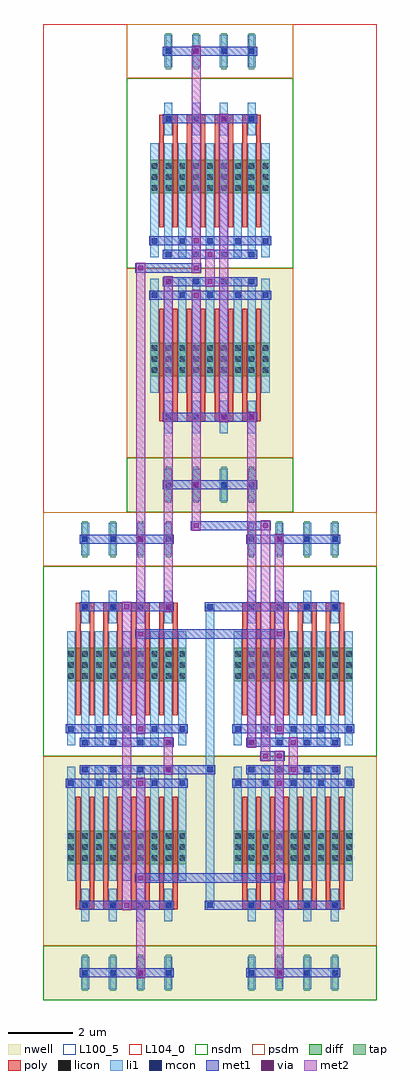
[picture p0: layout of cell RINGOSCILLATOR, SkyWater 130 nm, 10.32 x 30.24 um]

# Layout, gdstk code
import gdstk
lib = gdstk.Library(unit=1e-6, precision=1e-09)
def R(c, l, rs):  # rectangles x0, y0, x1, y1
    for r in rs: c.add(gdstk.rectangle(r[:2], r[2:], *l))
def A(c, l, x, y, w, h, nx, ny, dx, dy):  # array of equal rectangles
    R(c, l, [(x+i*dx, y+j*dy, x+i*dx+w, y+j*dy+h) for i in range(nx) for j in range(ny)])
nwell = (64, 20)
diff = (65, 20)
tap = (65, 44)
poly = (66, 20)
licon = (66, 44)
li1 = (67, 20)
mcon = (67, 44)
met1 = (68, 20)
via = (68, 44)
met2 = (69, 20)
nsdm = (93, 44)
psdm = (94, 20)
L100_5 = (100, 5)
L104_0 = (104, 0)

ringoscillator = lib.new_cell('RINGOSCILLATOR')
R(ringoscillator, nwell, [(0,0,5.16,7.56), (5.16,0,10.32,7.56), (2.58,15.12,7.74,22.68)])
R(ringoscillator, diff, [(0.735,4.2,4.425,5.25), (5.895,4.2,9.585,5.25), (0.735,9.87,4.425,10.92), (5.895,9.87,9.585,10.92), (3.315,19.32,7.005,20.37), (3.315,24.99,7.005,26.04)])
A(ringoscillator, tap, 1.205, 0.28, 0.17, 1.12, 4, 2, 0.86, 13.44)
A(ringoscillator, tap, 6.365, 0.28, 0.17, 1.12, 4, 2, 0.86, 13.44)
A(ringoscillator, tap, 3.785, 15.4, 0.17, 1.12, 4, 2, 0.86, 13.44)
A(ringoscillator, poly, 1, 2.805, 0.58, 0.27, 4, 2, 0.86, 9.24)
A(ringoscillator, poly, 6.16, 2.805, 0.58, 0.27, 4, 2, 0.86, 9.24)
A(ringoscillator, poly, 1, 2.94, 0.15, 3.36, 8, 2, 0.43, 5.88)
A(ringoscillator, poly, 6.16, 2.94, 0.15, 3.36, 8, 2, 0.43, 5.88)
A(ringoscillator, poly, 3.58, 17.925, 0.58, 0.27, 4, 2, 0.86, 9.24)
A(ringoscillator, poly, 3.58, 18.06, 0.15, 3.36, 8, 2, 0.43, 5.88)
A(ringoscillator, licon, 1.205, 0.755, 0.17, 0.17, 4, 2, 0.86, 2.1)
A(ringoscillator, licon, 6.365, 0.755, 0.17, 0.17, 4, 2, 0.86, 2.1)
A(ringoscillator, licon, 0.775, 4.32, 0.17, 0.17, 3, 3, 0.43, 0.34)
A(ringoscillator, licon, 1.635, 4.32, 0.17, 0.17, 3, 3, 0.43, 0.34)
A(ringoscillator, licon, 2.495, 4.32, 0.17, 0.17, 3, 3, 0.43, 0.34)
A(ringoscillator, licon, 3.355, 4.32, 0.17, 0.17, 3, 3, 0.43, 0.34)
A(ringoscillator, licon, 5.935, 4.32, 0.17, 0.17, 3, 3, 0.43, 0.34)
A(ringoscillator, licon, 6.795, 4.32, 0.17, 0.17, 3, 3, 0.43, 0.34)
A(ringoscillator, licon, 7.655, 4.32, 0.17, 0.17, 3, 3, 0.43, 0.34)
A(ringoscillator, licon, 8.515, 4.32, 0.17, 0.17, 3, 3, 0.43, 0.34)
A(ringoscillator, licon, 0.775, 9.95, 0.17, 0.17, 3, 3, 0.43, 0.34)
A(ringoscillator, licon, 1.635, 9.95, 0.17, 0.17, 3, 3, 0.43, 0.34)
A(ringoscillator, licon, 2.495, 9.95, 0.17, 0.17, 3, 3, 0.43, 0.34)
A(ringoscillator, licon, 3.355, 9.95, 0.17, 0.17, 3, 3, 0.43, 0.34)
A(ringoscillator, licon, 5.935, 9.95, 0.17, 0.17, 3, 3, 0.43, 0.34)
A(ringoscillator, licon, 6.795, 9.95, 0.17, 0.17, 3, 3, 0.43, 0.34)
A(ringoscillator, licon, 7.655, 9.95, 0.17, 0.17, 3, 3, 0.43, 0.34)
A(ringoscillator, licon, 8.515, 9.95, 0.17, 0.17, 3, 3, 0.43, 0.34)
A(ringoscillator, licon, 1.205, 12.095, 0.17, 0.17, 4, 2, 0.86, 2.1)
A(ringoscillator, licon, 6.365, 12.095, 0.17, 0.17, 4, 2, 0.86, 2.1)
A(ringoscillator, licon, 3.785, 15.875, 0.17, 0.17, 4, 2, 0.86, 2.1)
A(ringoscillator, licon, 3.355, 19.44, 0.17, 0.17, 3, 3, 0.43, 0.34)
A(ringoscillator, licon, 4.215, 19.44, 0.17, 0.17, 3, 3, 0.43, 0.34)
A(ringoscillator, licon, 5.075, 19.44, 0.17, 0.17, 3, 3, 0.43, 0.34)
A(ringoscillator, licon, 5.935, 19.44, 0.17, 0.17, 3, 3, 0.43, 0.34)
A(ringoscillator, licon, 3.355, 25.07, 0.17, 0.17, 3, 3, 0.43, 0.34)
A(ringoscillator, licon, 4.215, 25.07, 0.17, 0.17, 3, 3, 0.43, 0.34)
A(ringoscillator, licon, 5.075, 25.07, 0.17, 0.17, 3, 3, 0.43, 0.34)
A(ringoscillator, licon, 5.935, 25.07, 0.17, 0.17, 3, 3, 0.43, 0.34)
A(ringoscillator, licon, 3.785, 27.215, 0.17, 0.17, 4, 2, 0.86, 2.1)
A(ringoscillator, li1, 1.165, 0.335, 0.25, 1.01, 4, 2, 0.86, 2.1)
A(ringoscillator, li1, 6.325, 0.335, 0.25, 1.01, 4, 2, 0.86, 2.1)
A(ringoscillator, li1, 0.735, 3.695, 0.25, 3.53, 9, 2, 0.43, 4.2)
A(ringoscillator, li1, 5.895, 3.695, 0.25, 3.53, 9, 2, 0.43, 4.2)
A(ringoscillator, li1, 1.165, 11.675, 0.25, 1.01, 4, 2, 0.86, 2.1)
A(ringoscillator, li1, 6.325, 11.675, 0.25, 1.01, 4, 2, 0.86, 2.1)
A(ringoscillator, li1, 3.745, 15.455, 0.25, 1.01, 4, 2, 0.86, 2.1)
A(ringoscillator, li1, 3.315, 18.815, 0.25, 3.53, 9, 2, 0.43, 4.2)
A(ringoscillator, li1, 3.745, 26.795, 0.25, 1.01, 4, 2, 0.86, 2.1)
R(ringoscillator, li1, [(5.035,2.855,5.285,12.265)])
A(ringoscillator, mcon, 1.205, 0.755, 0.17, 0.17, 4, 2, 0.86, 2.1)
A(ringoscillator, mcon, 6.365, 0.755, 0.17, 0.17, 4, 2, 0.86, 2.1)
A(ringoscillator, mcon, 0.775, 6.635, 0.17, 0.17, 5, 2, 0.86, 1.68)
A(ringoscillator, mcon, 5.935, 6.635, 0.17, 0.17, 5, 2, 0.86, 1.68)
A(ringoscillator, mcon, 1.205, 7.055, 0.17, 0.17, 4, 2, 0.86, 0.84)
A(ringoscillator, mcon, 6.365, 7.055, 0.17, 0.17, 4, 2, 0.86, 0.84)
A(ringoscillator, mcon, 1.205, 12.095, 0.17, 0.17, 4, 2, 0.86, 2.1)
A(ringoscillator, mcon, 6.365, 12.095, 0.17, 0.17, 4, 2, 0.86, 2.1)
A(ringoscillator, mcon, 3.785, 15.875, 0.17, 0.17, 4, 2, 0.86, 2.1)
A(ringoscillator, mcon, 3.355, 21.755, 0.17, 0.17, 5, 2, 0.86, 1.68)
A(ringoscillator, mcon, 3.785, 22.175, 0.17, 0.17, 4, 2, 0.86, 0.84)
A(ringoscillator, mcon, 3.785, 27.215, 0.17, 0.17, 4, 2, 0.86, 2.1)
R(ringoscillator, mcon, [(5.075,2.855,5.245,3.025), (5.075,7.055,5.245,7.225), (5.075,12.095,5.245,12.265)])
R(ringoscillator, met1, [(1.12,0.7,4.04,0.98), (6.28,0.7,9.2,0.98), (1.12,2.8,4.04,3.08), (4.99,2.8,9.2,3.08), (2.85,3.64,7.47,3.92), (0.69,6.58,4.47,6.86), (5.85,6.58,9.63,6.86), (1.12,7,5.33,7.28), (6.28,7,9.2,7.28), (6.72,7.42,7.47,7.7), (1.12,7.84,4.04,8.12), (6.28,7.84,9.2,8.12), (0.69,8.26,4.47,8.54), (5.85,8.26,9.63,8.54), (2.85,11.2,7.47,11.48), (1.12,12.04,4.04,12.32), (4.99,12.04,9.2,12.32), (1.12,14.14,4.04,14.42), (6.28,14.14,9.2,14.42), (4.57,14.56,7.04,14.84), (3.7,15.82,6.62,16.1), (3.7,17.92,6.62,18.2), (3.27,21.7,7.05,21.98), (3.7,22.12,6.62,22.4), (2.85,22.54,4.89,22.82), (3.7,22.96,6.62,23.24), (3.27,23.38,7.05,23.66), (3.7,27.16,6.62,27.44), (3.7,29.26,6.62,29.54)])
A(ringoscillator, via, 2.935, 0.765, 0.15, 0.15, 1, 3, 0, 2.94)
A(ringoscillator, via, 7.235, 0.765, 0.15, 0.15, 1, 3, 0, 2.94)
A(ringoscillator, via, 2.935, 8.325, 0.15, 0.15, 1, 3, 0, 2.94)
A(ringoscillator, via, 7.235, 8.325, 0.15, 0.15, 1, 3, 0, 2.94)
A(ringoscillator, via, 4.655, 21.765, 0.15, 0.15, 1, 3, 0, 0.84)
R(ringoscillator, via, [(2.505,2.865,2.655,3.015), (3.795,7.065,3.945,7.215), (7.665,7.065,7.815,7.215), (6.805,7.485,6.955,7.635), (7.235,7.485,7.385,7.635), (3.795,7.905,3.945,8.055), (6.375,7.905,6.525,8.055), (7.665,7.905,7.815,8.055), (2.505,12.105,2.655,12.255), (3.795,12.105,3.945,12.255), (4.655,14.625,4.805,14.775), (6.805,14.625,6.955,14.775), (4.655,15.885,4.805,16.035), (5.515,17.985,5.665,18.135), (6.375,17.985,6.525,18.135), (3.795,22.185,3.945,22.335), (5.085,22.185,5.235,22.335), (2.935,22.605,3.085,22.755), (5.085,23.025,5.235,23.175), (5.515,27.225,5.665,27.375), (4.655,29.325,4.805,29.475)])
R(ringoscillator, met2, [(2.87,0.68,3.15,6.88), (7.17,0.68,7.45,7.72), (2.44,2.78,2.72,12.34), (3.73,6.98,4.01,8.14), (7.6,6.98,7.88,8.14), (6.74,7.4,7.02,14.86), (6.31,7.82,6.59,18.22), (2.87,8.24,3.15,22.84), (7.17,8.24,7.45,14.44), (3.73,12.02,4.01,22.42), (4.59,14.54,4.87,22), (5.45,17.9,5.73,27.46), (5.02,22.1,5.3,23.26), (4.59,22.52,4.87,29.56)])
R(ringoscillator, nsdm, [(0,0,5.16,1.68), (5.16,0,10.32,1.68), (0,7.56,5.16,13.44), (5.16,7.56,10.32,13.44), (2.58,15.12,7.74,16.8), (2.58,22.68,7.74,28.56)])
R(ringoscillator, psdm, [(0,1.68,5.16,7.56), (5.16,1.68,10.32,7.56), (0,13.44,5.16,15.12), (5.16,13.44,10.32,15.12), (2.58,16.8,7.74,22.68), (2.58,28.56,7.74,30.24)])
R(ringoscillator, L100_5, [(0,0,10.32,30.24)])
R(ringoscillator, L104_0, [(0,0,10.32,30.24)])

lib.write_gds('RINGOSCILLATOR.gds')
